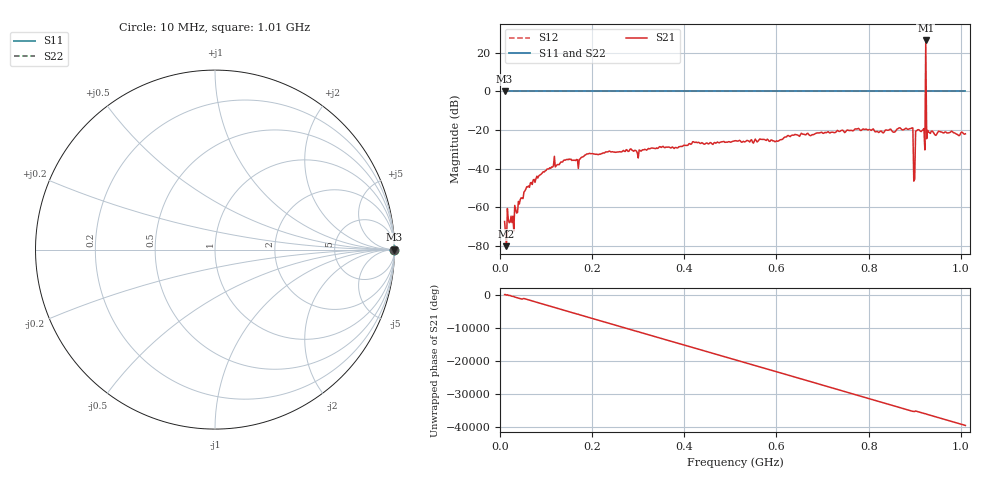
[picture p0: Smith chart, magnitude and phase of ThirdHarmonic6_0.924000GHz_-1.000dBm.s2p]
! 8/16/2025 6:10:09 AM
! C:\ANRITSUVNA\TEMP\TEMP.S2P
! CHANNEL.1
! TR.MEASUREMENT
! RAW.DATA
! RF.CORRECTION.OFF
! AVERAGING.OFF
! IF.BANDWIDTH: 5KHZ
! SWEEPTYPE:  FREQ.SWEEP(Linear)
! Reference Plane Port Info
! PORT:  PORT1  PORT2
! DISTANCE:  0  m  0  m
! TIME:  0  s  0  s
! PHASE.OFFSET:  0  deg.  0  deg.
! LOSS:  0  dB  0  dB
! REF.LOSS:  0  dB  0  dB
! REF.FREQ:  0  Hz  0  Hz
! Power Info
! POWER:  -20  dBm  -20  dBm
! EFF.POWER:  -20  dBm  -20  dBm
! SOURCE.ATTEN:  0  dB  0  dB
! TEST.ATTEN:  0  dB  0  dB
# GHZ S RI R 50.0
! FREQ.GHZ  S11RE  S11IM  S21RE  S21IM  S12RE  S12IM  S22RE  S22IM
!; PortSelection: Port_12
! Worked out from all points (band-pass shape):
!   501 points, 10 MHz to 1.01 GHz, reference 50 ohm
!   highest |S21| = 26.32 dB at 924 MHz (marker M1); lowest = -80.1 dB at 14 MHz (marker M2)
!   |S21| within 3 dB of the highest: 923.8941 MHz to 924.118 MHz (223.9 kHz wide, 0.0242 % of centre)
!   lowest |S11| = 0.0 dB at 10 MHz (marker M3)
!   |S11| at or under -10 dB: nowhere
!   |S22| runs from 0.0 to 0.0 dB; largest |S21 - S12| = 20
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0.01  1 0  0.000428 -2.42e-05  1 0  1 0
0.014  1 0  -8.37e-05 -5.2e-05  1 0  1 0
0.02  1 0  2.96e-05 0.000399  1 0  1 0
0.026  1 0  -0.000335 -0.000221  1 0  1 0
0.056  1 0  -0.000848 0.00283  1 0  1 0
0.082  1 0  -0.00232 0.00522  1 0  1 0
0.114  1 0  -0.0025 -0.0106  1 0  1 0
0.178  1 0  -0.0197 -0.00232  1 0  1 0
0.344  1 0  0.0333 -0.00932  1 0  1 0
0.51  1 0  -0.0429 0.0304  1 0  1 0
0.678  1 0  -0.0511 -0.056  1 0  1 0
0.844  1 0  0.0997 -0.00134  1 0  1 0
0.892  1 0  -0.0894 -0.0631  1 0  1 0
0.896  1 0  0.0751 0.0837  1 0  1 0
0.902  1 0  -0.0906 0.02  1 0  1 0
0.906  1 0  0.0989 0.0163  1 0  1 0
0.918  1 0  -0.0419 -0.0923  1 0  1 0
0.92  1 0  -0.1032 0.0334  1 0  1 0
0.924  1 0  11.28 17.36  1 0  1 0
0.928  1 0  -0.0966 -0.0153  1 0  1 0
0.93  1 0  -0.0294 0.0835  1 0  1 0
1.01  1 0  -0.0466 0.0645  1 0  1 0
